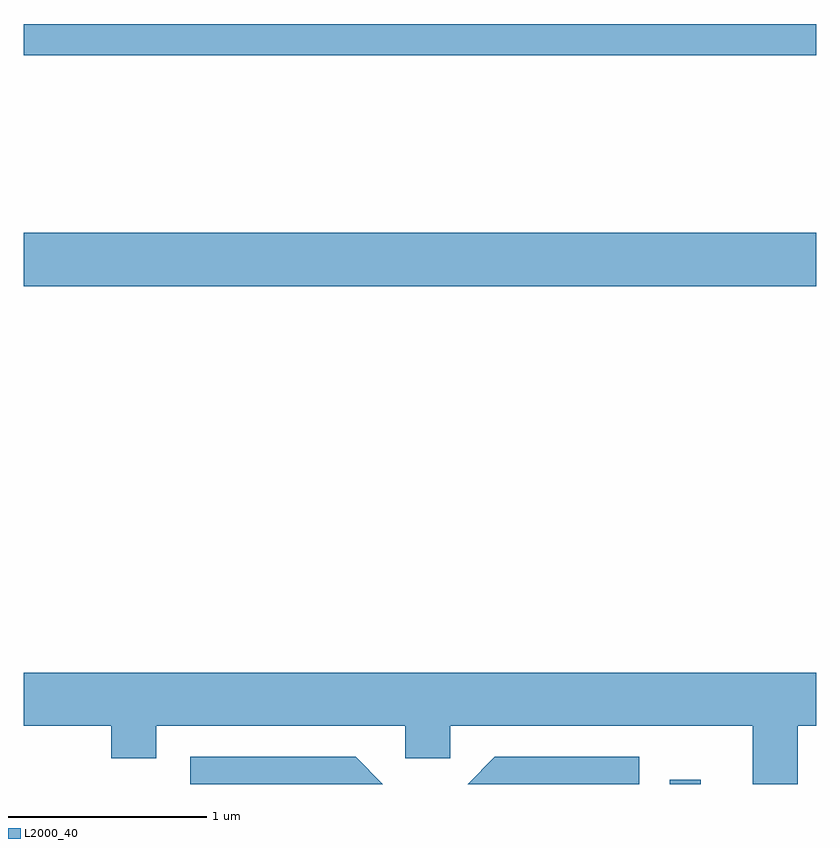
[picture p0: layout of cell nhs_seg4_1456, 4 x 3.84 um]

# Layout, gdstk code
import gdstk
lib = gdstk.Library(unit=1e-6, precision=1e-09)
def R(c, l, rs):  # rectangles x0, y0, x1, y1
    for r in rs: c.add(gdstk.rectangle(r[:2], r[2:], *l))
def P(c, l, *ps):  # polygons
    for p in ps: c.add(gdstk.Polygon(p, *l))
L2000_40 = (2000, 40)

nhs_seg4_1456 = lib.new_cell('nhs_seg4_1456')
R(nhs_seg4_1456, L2000_40, [(230.871,1309.982,231.029,1310.003), (227.611,1312.496,231.611,1312.764), (227.611,1313.661,231.611,1313.819)])
P(nhs_seg4_1456, L2000_40, [(231.519,1310.276),(231.611,1310.276),(231.611,1310.544),(227.611,1310.544),(227.611,1310.276),(228.051,1310.276),(228.051,1310.111),(228.279,1310.111),(228.279,1310.276),(229.536,1310.276),(229.536,1310.111),(229.764,1310.111),(229.764,1310.276),(231.291,1310.276),(231.291,1309.982),(231.519,1309.982)],
  [(230.719,1310.119),(229.989,1310.119),(229.852,1309.982),(230.719,1309.982)],
  [(229.287,1310.119),(228.451,1310.119),(228.451,1309.982),(229.424,1309.982)])

lib.write_gds('nhs_seg4_1456.gds')
